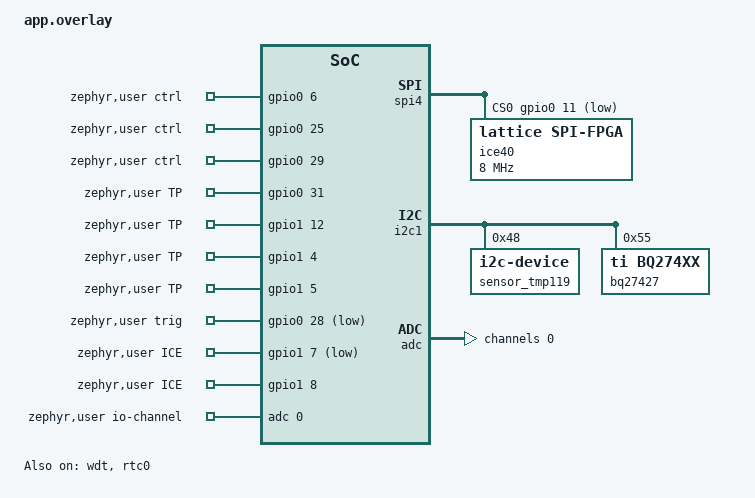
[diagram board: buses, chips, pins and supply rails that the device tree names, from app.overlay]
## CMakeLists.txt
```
#
# Copyright (c) 2018 Nordic Semiconductor
#
# SPDX-License-Identifier: LicenseRef-Nordic-5-Clause
#

cmake_minimum_required(VERSION 3.20.0)

find_package(Zephyr REQUIRED HINTS $ENV{ZEPHYR_BASE})
project(optimus_icu)

# 定义 common 目录
set(COMMON_DIR ${CMAKE_CURRENT_SOURCE_DIR}/../common)

# 定义 driver 目录
set(DRIVER_DIR ${CMAKE_CURRENT_SOURCE_DIR}/src/driver)

# 检查 common 目录是否存在
if(NOT EXISTS ${COMMON_DIR})
  message(FATAL_ERROR "The directory '${COMMON_DIR}' does not exist. Check your project structure.")
endif()
set(CMAKE_CXX_STANDARD 11) 
# 添加 main 应用程序源文件
target_sources(app PRIVATE
  src/main.c
  src/nx_crc.c
  src/dfu.c
  src/info.c
  src/sensor.c
  src/rtc.c
  src/events.c
  src/fuel_gauge_monitor.c
  src/thermal_monitor.c
  ${COMMON_DIR}/G3_ProtocolImplBLEPeripheral.c
  ${COMMON_DIR}/G3_ProtocolImplUart.c
  ${COMMON_DIR}/G3_Seq.c
  ${DRIVER_DIR}/bsp_gpio.c
  ${DRIVER_DIR}/bsp_ice40.c
  ${DRIVER_DIR}/bsp_gd25q32.c
  ${DRIVER_DIR}/bsp_tmp119.c
  ${DRIVER_DIR}/bq27427/bq274xx.c
)

# 递归包含 common 目录和子目录
function(get_all_subdirectories BASE_DIR OUT_VAR)
    file(GLOB_RECURSE SUB_DIRS LIST_DIRECTORIES true "${BASE_DIR}/*")
    set(FILTERED_DIRS "")
    foreach(SUB_DIR ${SUB_DIRS})
        if (IS_DIRECTORY ${SUB_DIR})
            list(APPEND FILTERED_DIRS ${SUB_DIR})
        endif()
    endforeach()
    set(${OUT_VAR} ${FILTERED_DIRS} PARENT_SCOPE)
endfunction()

# 获取 common 目录的所有子目录
get_all_subdirectories(${COMMON_DIR} COMMON_SUBDIRS)

# 添加到包含路径
zephyr_include_directories(${COMMON_DIR})
zephyr_include_directories(${COMMON_SUBDIRS})

# 条件添加 UART ASYNC API
target_sources_ifdef(CONFIG_BT_NUS_UART_ASYNC_ADAPTER app PRIVATE
  src/uart_async_adapter.c
)

# 添加库头文件
zephyr_library_include_directories(.)
```

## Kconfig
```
#
# Copyright (c) 2018 Nordic Semiconductor
#
# SPDX-License-Identifier: LicenseRef-Nordic-5-Clause
#

source "Kconfig.zephyr"

menu "Nordic UART BLE GATT service sample"

config BT_NUS_THREAD_STACK_SIZE
	int "Thread stack size"
	default 1024
	help
	  Stack size used in each of the two threads

config BT_NUS_UART_BUFFER_SIZE
	int "UART payload buffer element size"
	default 40
	help
	  Size of the payload buffer in each RX and TX FIFO element

config BT_NUS_SECURITY_ENABLED
	bool "Enable security"
	default y
	select BT_SMP
	help
	  "Enable BLE security for the UART service"

config BT_NUS_HOST_AUTH_ENABLED
	bool "Enable application layer authentication"
	default y
	help
	  "Enable BLE application authentication for the UART service"

config BT_NUS_FPGA_OTA_ENABLED
	bool "Enable FPGA upgrade function"
	default n
	help
	  "Enable FPGA upgrade for the UART service"

config BT_NUS_UART_RX_WAIT_TIME
	int "Timeout for UART RX complete event"
	default 50000
	help
	  Wait for RX complete event time in microseconds

config BT_NUS_UART_ASYNC_ADAPTER
	bool "Enable UART async adapter"
	select SERIAL_SUPPORT_ASYNC
	help
	  Enables asynchronous adapter for UART drives that supports only
	  IRQ interface.

config BT_NUS_IMP_MEA_MOCK_TEST
	bool "Enable MOCK Test of Impedance measure process"
	default n
	help
	  Enable Mock Test of Impedance measure process

config EVENT_WORKQUEUE_STACK_SIZE
	int "Event workqueue stack size"
	default 1024

config EVENT_STACK_WARNING_THRESHOLD
	int "Event workqueue stack threshold"
	default 512

config EVENT_WORKQUEUE_PRIORITY
	int "Event workqueue priority"
	default 7

config EVENT_WORKQUEUE_MONITOR
	bool "Enable event workqueue monitor"
	default n

config EVENT_MAX_LATENCY
	int "event max latency"
	default 100

endmenu
```

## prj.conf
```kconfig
#
# Copyright (c) 2018 Nordic Semiconductor
#
# SPDX-License-Identifier: LicenseRef-Nordic-5-Clause
#

# Enable the UART driver
CONFIG_UART_ASYNC_API=y
CONFIG_NRFX_UARTE0=y
CONFIG_SERIAL=y

CONFIG_GPIO=y

# Make sure printk is printing to the RTT console
CONFIG_CONSOLE=y
CONFIG_UART_CONSOLE=n
CONFIG_RTT_CONSOLE=y

CONFIG_EVENTS=y
CONFIG_RING_BUFFER=y
CONFIG_HEAP_MEM_POOL_SIZE=2048

CONFIG_BT=y
CONFIG_BT_PERIPHERAL=y
CONFIG_BT_DEVICE_NAME="Optimus"
CONFIG_BT_DEVICE_NAME_DYNAMIC=y
CONFIG_BT_DEVICE_NAME_MAX=16
CONFIG_BT_MAX_CONN=1
CONFIG_BT_MAX_PAIRED=1
CONFIG_BT_USER_PHY_UPDATE=y
CONFIG_BT_USER_DATA_LEN_UPDATE=y
CONFIG_BT_GAP_AUTO_UPDATE_CONN_PARAMS=n
CONFIG_BT_GATT_CLIENT=y
CONFIG_BT_BUF_ACL_RX_SIZE=251
CONFIG_BT_BUF_ACL_TX_SIZE=251
CONFIG_BT_L2CAP_TX_MTU=247
# CONFIG_BT_L2CAP_TX_BUF_COUNT=2
# CONFIG_BT_L2CAP_TX_FRAG_COUNT=0
# CONFIG_BT_BUF_ACL_TX_COUNT=1
# CONFIG_BT_CTLR_SDC_MAX_CONN_EVENT_LEN_DEFAULT=15000
# CONFIG_BT_LL_SOFTDEVICE=y
# CONFIG_BT_CTLR=y
# CONFIG_BT_CTLR_SDC_MAX_CONN_EVENT_LEN_DEFAULT_OVERRIDE=y
CONFIG_BT_RX_STACK_SIZE=4096

# Enable the NUS service
CONFIG_BT_NUS=y
CONFIG_BT_NUS_AUTHEN=n
# CONFIG_BT_ATT_LOG_LEVEL_DBG=y
# CONFIG_BT_GATT_LOG_LEVEL_DBG=y
CONFIG_BT_NUS_UART_BUFFER_SIZE=256
CONFIG_BT_NUS_SECURITY_ENABLED=n
CONFIG_BT_NUS_HOST_AUTH_ENABLED=n
CONFIG_BT_NUS_FPGA_OTA_ENABLED=y
# Security
# CONFIG_BT_SMP_SC_ONLY=y
# CONFIG_BT_MAX_PAIRED=5
# CONFIG_BT_KEYS_OVERWRITE_OLDEST=y
# Debug
CONFIG_BT_NUS_IMP_MEA_MOCK_TEST=n
CONFIG_THREAD_NAME=n

# Enable bonding
# CONFIG_BT_SETTINGS=y
CONFIG_FLASH=y
CONFIG_FLASH_PAGE_LAYOUT=y
CONFIG_FLASH_MAP=y
CONFIG_NVS=y
# CONFIG_SETTINGS=y
CONFIG_MPU_ALLOW_FLASH_WRITE=y


# This example requires more stack
CONFIG_MAIN_STACK_SIZE=8192
CONFIG_SYSTEM_WORKQUEUE_STACK_SIZE=2048

# Config logger
CONFIG_LOG=y
CONFIG_USE_SEGGER_RTT=y
CONFIG_LOG_BACKEND_RTT=y
CONFIG_LOG_BACKEND_UART=n
CONFIG_LOG_PRINTK=y
CONFIG_LOG_MODE_IMMEDIATE=y

CONFIG_ASSERT=y

CONFIG_I2C=y
CONFIG_BQ274XX=n
CONFIG_SPI=y
CONFIG_SPI_ASYNC=y
CONFIG_SENSOR=y
CONFIG_ADC=y
CONFIG_WATCHDOG=y
CONFIG_FPU=y

# Enable MCUBoot and FOTA
CONFIG_BOOTLOADER_MCUBOOT=y
CONFIG_NCS_SAMPLE_MCUMGR_BT_OTA_DFU=y

# Enable updates for the network core
CONFIG_NRF53_UPGRADE_NETWORK_CORE=y
CONFIG_UPDATEABLE_IMAGE_NUMBER=2
CONFIG_ADD_MCUBOOT_MEDIATE_SIM_FLASH_DTS=y

# Set Clock
CONFIG_SOC_HFXO_CAP_INTERNAL=y
CONFIG_SOC_HFXO_CAP_INT_VALUE_X2=20
CONFIG_SOC_SERIES_NRF53X=y
CONFIG_CLOCK_CONTROL_NRF_K32SRC_XTAL=y
CONFIG_CLOCK_CONTROL_NRF_K32SRC_50PPM=y
CONFIG_CLOCK_CONTROL_NRF_K32SRC_RC=n
CONFIG_CLOCK_CONTROL=y
CONFIG_CLOCK_CONTROL_NRF=y
# RTC
CONFIG_COUNTER=y
# CONFIG_RTC=y
# CONFIG_RTC_ALARM=y
# CONFIG_RTC_UPDATE=y
# CONFIG_RTC_CALIBRATION=y

# proprietary work queue
CONFIG_EVENT_WORKQUEUE_STACK_SIZE=1024
CONFIG_EVENT_STACK_WARNING_THRESHOLD=512
CONFIG_EVENT_WORKQUEUE_PRIORITY=8
CONFIG_EVENT_WORKQUEUE_MONITOR=n
CONFIG_EVENT_MAX_LATENCY=200

# zbus config
CONFIG_ZBUS=y
CONFIG_ZBUS_CHANNEL_NAME=y
CONFIG_ZBUS_OBSERVER_NAME=y
CONFIG_ZBUS_RUNTIME_OBSERVERS=y
```

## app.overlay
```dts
/*
 * Copyright (c) 2022 Nordic Semiconductor ASA
 *
 * SPDX-License-Identifier: LicenseRef-Nordic-5-Clause
 */

/ {
	chosen {
		nordic,nus-uart = &uart0;
		/delete-property/ zephyr,ieee802154;
	};

	zephyr,user {
		ctrl-gpios = <&gpio0 6 GPIO_ACTIVE_HIGH>,
					 <&gpio0 25 GPIO_ACTIVE_HIGH>,
					 <&gpio0 29 0>;
		TP-gpios = <&gpio0 31 0>, <&gpio1 12 0>, <&gpio1 4 0>, <&gpio1 5 0>;
		io-channels = <&adc 0>;
		trig-gpios = <&gpio0 28 GPIO_ACTIVE_LOW>;
		ICE-gpios = <&gpio1 7 GPIO_ACTIVE_LOW>, <&gpio1 8 0>;
	};

	aliases {
		/delete-property/ sw0;
		/delete-property/ sw1;
		/delete-property/ sw2;
		/delete-property/ sw3;
		/delete-property/ mcuboot-button0;
		/delete-property/ spi-flash0;
		/delete-property/ pwm-led0;
		/delete-property/ led0;
		/delete-property/ led1;
		/delete-property/ led2;
		/delete-property/ led3;
		/delete-property/ bootloader-led0;
		/delete-property/ mcuboot-led0;
	};
};

/delete-node/ &arduino_adc;
/delete-node/ &arduino_header;
/delete-node/ &{/buttons/};
/delete-node/ &{/leds/};
/delete-node/ &qspi;
/delete-node/ &{/pwmleds/};
/delete-node/ &pwm0;
/delete-node/ &{/nrf-gpio-forwarder/uart/};
/delete-node/ &gpio_fwd;

&uart0_default {
	group1 {
		psels = <NRF_PSEL(UART_TX, 1, 1)>;
	};

	group2 {
		psels = <NRF_PSEL(UART_RX, 1, 0)>;
	};
};

&uart0_sleep {
	group1 {
		psels = <NRF_PSEL(UART_TX, 1, 1)>, <NRF_PSEL(UART_RX, 1, 0)>;
	};
};

&spi4 {
	compatible = "nordic,nrf-spim";
	status = "okay";
	pinctrl-0 = <&spi4_default>;
	pinctrl-1 = <&spi4_sleep>;
	pinctrl-names = "default", "sleep";
	cs-gpios = <&gpio0 11 GPIO_ACTIVE_LOW>;
	ice40: fpga@0 {
		compatible ="lattice,spi-fpga";
		reg = <0x0>;
		spi-max-frequency = <DT_FREQ_M(8)>;
	};
};
&spi4_default {
	group1 {
		psels = <NRF_PSEL(SPIM_SCK, 0, 8)>,
				<NRF_PSEL(SPIM_MISO, 0, 10)>,
				<NRF_PSEL(SPIM_MOSI, 0, 9)>;
	};
};

&spi4_sleep {
	group1 {
		psels = <NRF_PSEL(SPIM_SCK, 0, 8)>,
				<NRF_PSEL(SPIM_MISO, 0, 10)>,
				<NRF_PSEL(SPIM_MOSI, 0, 9)>;
	};
};

&i2c1 {
	// clock-frequency = <I2C_BITRATE_FAST>;

	sensor_tmp119: tmp119@48 {
		compatible = "i2c-device";
		reg = <0x48>;
	};

	bq27427@55 {
		compatible = "ti,bq274xx";
		reg = <0x55>;
		design-voltage = <4200>;
		design-capacity = <250>;
		taper-current = <25>;
		terminate-voltage = <3200>;
		chemistry-id = <0x1202>;
	};
};

&adc {
	#address-cells = <1>;
	#size-cells = <0>;

	channel@0 {
		reg = <0>;
		zephyr,gain = "ADC_GAIN_1_6";
		zephyr,reference = "ADC_REF_INTERNAL";
		zephyr,acquisition-time = <0>;
		zephyr,resolution = <12>;
		zephyr,input-positive = <NRF_SAADC_AIN0>;
	};
};

&wdt {
	status = "okay";
};
&rtc0 {
	status = "okay";
	clock-frequency = <32768>;
	prescaler = <1>;
};
```

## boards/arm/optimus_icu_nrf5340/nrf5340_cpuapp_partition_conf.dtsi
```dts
/*
 * Copyright (c) 2019-2020 Nordic Semiconductor ASA
 *
 * SPDX-License-Identifier: Apache-2.0
 */

/*
 * Default Flash planning for optimus_icu_nrf5340 CPUAPP (Application MCU).
 *
 * Zephyr build for nRF5340 with ARM TrustZone-M support,
 * implies building Secure and Non-Secure Zephyr images.
 *
 * Secure image will be placed, by default, in flash0
 * (or in slot0, if MCUboot is present).
 * Secure image will use sram0 for system memory.
 *
 * Non-Secure image will be placed in slot0_ns, and use
 * sram0_ns for system memory.
 *
 * Note that the Secure image only requires knowledge of
 * the beginning of the Non-Secure image (not its size).
 */

&slot0_partition {
	reg = <0x00010000 0x40000>;
};

&slot0_ns_partition {
	reg = <0x00050000 0x30000>;
};

&slot1_partition {
	reg = <0x00080000 0x40000>;
};

&slot1_ns_partition {
	reg = <0x000c0000 0x30000>;
};

/* Default SRAM planning when building for nRF5340 with
 * ARM TrustZone-M support
 * - Lowest 256 kB SRAM allocated to Secure image (sram0_s)
 * - Middle 192 kB allocated to Non-Secure image (sram0_ns)
 * - Upper 64 kB SRAM allocated as Shared memory (sram0_shared)
 *   (see nrf5340_shared_sram_planning_conf.dtsi)
 */
&sram0_image {
	reg = <0x20000000 DT_SIZE_K(448)>;
};

&sram0_s {
	reg = <0x20000000 0x40000>;
};

&sram0_ns {
	reg = <0x20040000 0x30000>;
};

/* Include shared RAM configuration file */
#include "nrf5340_shared_sram_planning_conf.dtsi"
```

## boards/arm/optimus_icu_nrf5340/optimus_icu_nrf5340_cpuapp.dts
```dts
/*
 * Copyright (c) 2020 Nordic Semiconductor ASA
 *
 * SPDX-License-Identifier: Apache-2.0
 */

/dts-v1/;
#include <nordic/nrf5340_cpuapp_qkaa.dtsi>
#include "nrf5340_cpuapp_common.dtsi"

/ {
	model = "NeuroXess Optimus ICU NRF5340 Application";
	compatible = "neuroxess,optimus-icu-nrf5340-cpuapp";

	chosen {
		zephyr,sram = &sram0_image;
		zephyr,flash = &flash0;
		zephyr,code-partition = &slot0_partition;
		zephyr,sram-secure-partition = &sram0_s;
		zephyr,sram-non-secure-partition = &sram0_ns;
	};
};
```

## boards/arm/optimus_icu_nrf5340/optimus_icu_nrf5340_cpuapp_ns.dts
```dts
/*
 * Copyright (c) 2020 Nordic Semiconductor ASA
 *
 * SPDX-License-Identifier: Apache-2.0
 */

/dts-v1/;
#include <nordic/nrf5340_cpuappns_qkaa.dtsi>
#include "nrf5340_cpuapp_common.dtsi"

/ {
	model = "NeuroXess Optimus ICU NRF5340 Application";
	compatible = "neuroxess,optimus-icu-nrf5340-cpuapp";

	chosen {
		zephyr,sram = &sram0_ns;
		zephyr,flash = &flash0;
		zephyr,code-partition = &slot0_ns_partition;
	};
};
```

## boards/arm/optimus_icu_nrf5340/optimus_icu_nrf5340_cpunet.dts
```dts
/*
 * Copyright (c) 2020 Nordic Semiconductor ASA
 *
 * SPDX-License-Identifier: Apache-2.0
 */

/dts-v1/;
#include <nordic/nrf5340_cpunet_qkaa.dtsi>
#include "optimus_icu_nrf5340_cpunet-pinctrl.dtsi"
#include <zephyr/dt-bindings/input/input-event-codes.h>

/ {
	model = "NeuroXess Optimus ICU NRF5340 Network";
	compatible = "neuroxess,optimus-icu-nrf5340-cpunet";

	chosen {
		zephyr,console = &uart0;
		zephyr,shell-uart = &uart0;
		zephyr,uart-mcumgr = &uart0;
		zephyr,bt-mon-uart = &uart0;
		zephyr,bt-c2h-uart = &uart0;
		zephyr,bt-hci-ipc = &ipc0;
		nordic,802154-spinel-ipc = &ipc0;
		zephyr,sram = &sram1;
		zephyr,flash = &flash1;
		zephyr,code-partition = &slot0_partition;
		zephyr,ieee802154 = &ieee802154;
	};

	leds {
		compatible = "gpio-leds";
		led0: led_0 {
			gpios = <&gpio0 28 GPIO_ACTIVE_LOW>;
			label = "Green LED 0";
		};
		led1: led_1 {
			gpios = <&gpio0 29 GPIO_ACTIVE_LOW>;
			label = "Green LED 1";
		};
		led2: led_2 {
			gpios = <&gpio0 30 GPIO_ACTIVE_LOW>;
			label = "Green LED 2";
		};
		led3: led_3 {
			gpios = <&gpio0 31 GPIO_ACTIVE_LOW>;
			label = "Green LED 3";
		};
	};

	buttons {
		compatible = "gpio-keys";
		button0: button_0 {
			gpios = <&gpio0 23 (GPIO_PULL_UP | GPIO_ACTIVE_LOW)>;
			label = "Push button 1";
			zephyr,code = <INPUT_KEY_0>;
		};
		button1: button_1 {
			gpios = <&gpio0 24 (GPIO_PULL_UP | GPIO_ACTIVE_LOW)>;
			label = "Push button 2";
			zephyr,code = <INPUT_KEY_1>;
		};
		button2: button_2 {
			gpios = <&gpio0 8 (GPIO_PULL_UP | GPIO_ACTIVE_LOW)>;
			label = "Push button 3";
			zephyr,code = <INPUT_KEY_2>;
		};
		button3: button_3 {
			gpios = <&gpio0 9 (GPIO_PULL_UP | GPIO_ACTIVE_LOW)>;
			label = "Push button 4";
			zephyr,code = <INPUT_KEY_3>;
		};
	};

	arduino_header: connector {
		compatible = "arduino-header-r3";
		#gpio-cells = <2>;
		gpio-map-mask = <0xffffffff 0xffffffc0>;
		gpio-map-pass-thru = <0 0x3f>;
		gpio-map = <0 0 &gpio0 4 0>,	/* A0 */
			   <1 0 &gpio0 5 0>,	/* A1 */
			   <2 0 &gpio0 6 0>,	/* A2 */
			   <3 0 &gpio0 7 0>,	/* A3 */
			   <4 0 &gpio0 25 0>,	/* A4 */
			   <5 0 &gpio0 26 0>,	/* A5 */
			   <6 0 &gpio1 0 0>,	/* D0 */
			   <7 0 &gpio1 1 0>,	/* D1 */
			   <8 0 &gpio1 4 0>,	/* D2 */
			   <9 0 &gpio1 5 0>,	/* D3 */
			   <10 0 &gpio1 6 0>,	/* D4 */
			   <11 0 &gpio1 7 0>,	/* D5 */
			   <12 0 &gpio1 8 0>,	/* D6 */
			   <13 0 &gpio1 9 0>,	/* D7 */
			   <14 0 &gpio1 10 0>,	/* D8 */
			   <15 0 &gpio1 11 0>,	/* D9 */
			   <16 0 &gpio1 12 0>,	/* D10 */
			   <17 0 &gpio1 13 0>,	/* D11 */
			   <18 0 &gpio1 14 0>,	/* D12 */
			   <19 0 &gpio1 15 0>,	/* D13 */
			   <20 0 &gpio1 2 0>,	/* D14 */
			   <21 0 &gpio1 3 0>;	/* D15 */
	};

	/* These aliases are provided for compatibility with samples */
	aliases {
		led0 = &led0;
		led1 = &led1;
		led2 = &led2;
		led3 = &led3;
		sw0 = &button0;
		sw1 = &button1;
		sw2 = &button2;
		sw3 = &button3;
		bootloader-led0 = &led0;
		mcuboot-button0 = &button0;
		mcuboot-led0 = &led0;
		watchdog0 = &wdt0;
	};
};

&gpiote {
	status = "okay";
};

&gpio0 {
	status = "okay";
};

&gpio1 {
	status = "okay";
};

&uart0 {
	status = "okay";
	current-speed = <115200>;
	pinctrl-0 = <&uart0_default>;
	pinctrl-1 = <&uart0_sleep>;
	pinctrl-names = "default", "sleep";
};

arduino_serial: &uart0{};

arduino_i2c: &i2c0 {
	compatible = "nordic,nrf-twim";
	/* Cannot be used together with uart0. */
	/* status = "okay"; */
	pinctrl-0 = <&i2c0_default>;
	pinctrl-1 = <&i2c0_sleep>;
	pinctrl-names = "default", "sleep";
};

arduino_spi: &spi0 {
	compatible = "nordic,nrf-spim";
	/* Cannot be used together with uart0. */
	/* status = "okay"; */
	cs-gpios = <&arduino_header 16 GPIO_ACTIVE_LOW>; /* D10 */
	pinctrl-0 = <&spi0_default>;
	pinctrl-1 = <&spi0_sleep>;
	pinctrl-names = "default", "sleep";
};

&flash1 {

	partitions {
		compatible = "fixed-partitions";
		#address-cells = <1>;
		#size-cells = <1>;

		boot_partition: partition@0 {
			label = "mcuboot";
			reg = <0x00000000 0xc000>;
		};
		slot0_partition: partition@c000 {
			label = "image-0";
			reg = <0x0000C000 0x17000>;
		};
		slot1_partition: partition@23000 {
			label = "image-1";
			reg = <0x00023000 0x17000>;
		};
		storage_partition: partition@3a000 {
			label = "storage";
			reg = <0x0003a000 0x6000>;
		};
	};
};

&ieee802154 {
	status = "okay";
};

/* Include shared RAM configuration file */
#include "nrf5340_shared_sram_planning_conf.dtsi"
```

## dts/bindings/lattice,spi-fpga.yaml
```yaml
description: Optimus SPI node
 
compatible: "lattice,spi-fpga"

include: [spi-device.yaml]
```

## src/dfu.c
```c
/*******************************************************************************
 * @file  dfu.c
 * @brief DFU
 * @copyright
 *        Copyright(C) 2025 NeuroXess, All rights reserved.
 * @par Changelog
 ******************************************************************************/

#include "dfu.h"
#include "public_api.h"
#include "nx_crc.h"
#include "G3_Protocol.h"
#include "G3_ProtocolImplUart.h"

#define LOG_MODULE_NAME OPT_DFU
LOG_MODULE_REGISTER(LOG_MODULE_NAME, LOG_LEVEL_INF);

K_SEM_DEFINE(sem_stm32_dfu, 0, 1);
volatile bool g_stm32_dfu_enter = false;
volatile bool g_stm32_talk = false;
volatile dfu_type_t g_dfu_type = DFU_NONE;
volatile uint8_t dfu_data[STM32_FW_MAX_SIZE] = {0};

K_MSGQ_DEFINE(msgq_dfu_uart_rx, sizeof(struct msgq_uart_ack_t), 1, 4);
K_MSGQ_DEFINE(msgq_uart_rx, sizeof(struct msgq_uart_ack_t), 1, 4);
K_MSGQ_DEFINE(msgq_sync_uart_rx, sizeof(struct msgq_uart_ack_t), 1, 4);

void stm32_dfu_thread(void)
{
    uint16_t send_len = 0;
    uint8_t send_err = 0;

#if defined(CONFIG_THREAD_NAME)
    k_tid_t current_thread = k_current_get();
    printk("Thread ID: %p, Name: %s (prio: %d)\n", current_thread, current_thread->name, k_thread_priority_get(current_thread));
#endif

    for (;;)
    {
        k_sem_take(&sem_stm32_dfu, K_FOREVER);
        g_stm32_dfu_enter = true;
        dfu_internal_state_t st = DFU_BTR_ENTER;
        send_len = 0;
        send_err = 0;
        struct msgq_uart_ack_t ele;

        uint16_t dfu_crc = nx_crc16(dfu_data, sizeof(dfu_data));
        LOG_INF("DFU CRC = 0x%04x", dfu_crc);

        while (st != DFU_FINISH)
        {
            switch (st) {
            case DFU_BTR_ENTER:
            {
                LOG_INF("Step 1: Change to BTR");
                //!< Step 1: Notify STM32 to enter BTR mode and confirm

                uint8_t data[MAX_BLE_FRAME_SIZE] = {0};
                Frame *frmAck = (Frame *)data;
                frmAck->header = HEADER;
                frmAck->seq = getBleSendSeq();
                frmAck->type = FRAME_UPLOAD_COMMAND;
                frmAck->dataLen = 1;
                frmAck->data[0] = UPGRADE_STARTED;
                ProtocolErrorCode ret = sendFrame(frmAck);

                do {
                    uint8_t data[MAX_UART_FRAME_SIZE] = {0};
                    Frame *p_uartframe = (Frame *)data;
                    p_uartframe->header = HEADER;
                    p_uartframe->type = FRAME_MODE_CHANGE;
                    p_uartframe->dataLen = 1;
                    p_uartframe->data[0] = 0x00;
                    sendUartFrame(p_uartframe);
                    if (k_msgq_get(&msgq_dfu_uart_rx, &ele, K_MSEC(1000)) == 0) {}

                    p_uartframe->type = FRAME_MODE_GET;
                    p_uartframe->dataLen = 0;
                    sendUartFrame(p_uartframe);
                    if (k_msgq_get(&msgq_dfu_uart_rx, &ele, K_MSEC(1000)) == 0) {
                        LOG_HEXDUMP_DBG(ele.data, ele.len, "DFU");
                        uint16_t ack_head = ele.data[0] | (ele.data[1] << 8);
                        uint8_t type = ele.data[4];
                        uint16_t mode = ele.data[9];
                        if ((ack_head == HEADER) && (type == FRAME_MODE_GET) && (mode == 0)) {
                            send_err = 0;
                            st = DFU_METAINFO_SEND;
                        }
                        else
                        {
                            LOG_INF("FRAME_MODE_GET: %d", mode);
                            if (++send_err >= 5)
                            {
                                LOG_INF("Change to BTR mode err");
                                st = DFU_FAIL;
                                break;
                            }
                        }
                    }
                    else
                    {
                        if (++send_err >= 5)
                        {
                            LOG_INF("Change to BTR mode err");
                            st = DFU_FAIL;
                            break;
                        }
                    }
                } while (st == DFU_BTR_ENTER);
            }
                break;
            case DFU_METAINFO_SEND:
            {
                LOG_INF("Step 2: Write Metainfo");
                //!< Step 2: Send meta info of firmware
                do {
                    uint8_t data[MAX_UART_FRAME_SIZE] = {0};
                    Frame *p_uartframe = (Frame *)data;
                    p_uartframe->header = HEADER;
                    p_uartframe->type = FRAME_WRITE;
                    p_uartframe->dataLen = 8;
                    p_uartframe->data[0] = 0xe0;
                    p_uartframe->data[1] = 0x1f;
                    p_uartframe->data[2] = 0x04;
                    p_uartframe->data[3] = 0x00;
                    p_uartframe->data[4] = (uint8_t)(dfu_crc);
                    p_uartframe->data[5] = (uint8_t)(dfu_crc >> 8);
                    sendUartFrame(p_uartframe);
                    if (k_msgq_get(&msgq_dfu_uart_rx, &ele, K_MSEC(1000)) == 0) {
                        LOG_HEXDUMP_DBG(ele.data, ele.len, "DFU");
                        uint16_t ack_head = ele.data[0] | (ele.data[1] << 8);
                        uint8_t type = ele.data[4];
                        uint16_t len = ele.data[6] | (ele.data[7] << 8);
                        if ((ack_head == HEADER) && (type == FRAME_WRITE) && (len == 0)) {
                            send_err = 0;
                            send_len = 0;
                            st = DFU_BODY_SEND;
                        }
                        else {
                            if (++send_err >= 5)
                            {
                                LOG_INF("Send Metainfo err");
                                st = DFU_FAIL;
                                break;
                            }
                        }
                    }
                    else
                    {
                        if (++send_err >= 5)
                        {
                            LOG_INF("Send Metainfo err");
                            st = DFU_FAIL;
                            break;
                        }
                    }
                } while(st == DFU_METAINFO_SEND);
            }
                break;
            case DFU_BODY_SEND:
            {
                //!< Step 3: send body of firmware file
                while (send_len < sizeof(dfu_data))
                {
                    uint8_t data[MAX_UART_FRAME_SIZE] = {0};
                    Frame *p_uartframe = (Frame *)data;
                    p_uartframe->header = HEADER;
                    p_uartframe->type = FRAME_WRITE;
                    p_uartframe->dataLen = 132;
                    p_uartframe->data[0] = (uint8_t)(0x2000 + send_len);
                    p_uartframe->data[1] = (uint8_t)((0x2000 + send_len) >> 8);
                    // data len
                    p_uartframe->data[2] = 0x80;
                    p_uartframe->data[3] = 0x00;
                    memcpy(p_uartframe->data + 4, dfu_data + send_len, 0x80);
                    sendUartFrame(p_uartframe);
                    // wait ack
                    if (k_msgq_get(&msgq_dfu_uart_rx, &ele, K_MSEC(1000)) == 0)
                    {
                        uint16_t ack_head = ele.data[0] | (ele.data[1] << 8);
                        uint8_t type = ele.data[4];
                        uint16_t len = ele.data[6] | (ele.data[7] << 8);
                        if ((ack_head == HEADER) && (type == FRAME_WRITE) && (len == 0))
                        {
                            send_len += 0x80;
                            LOG_INF("DFU process: %d/%d, %d%%", send_len, sizeof(dfu_data), send_len * 100 / sizeof(dfu_data));
                        }
                        else
                        {
                            LOG_INF("DFU ack fail, 0x%04x", send_len);
                            if (++send_err >= 5)
                            {
                                break;
                            }
                        }
                    }
                    else
                    {
                        LOG_INF("DFU ack timeout, 0x%04x, 0x%02x-0x%02x", send_len,  p_uartframe->data[0],  p_uartframe->data[1]);
                        if (++send_err >= 5)
                        {
                            break;
                        }
                    }
                }

                if (send_len >= sizeof(dfu_data))
                {
                    send_err = 0;
                    st = DFU_APP_ENTER;
                    LOG_INF("STM32 DFU finsih");
                }
                else
                {
                    send_err = 0;
                    st = DFU_FAIL;
                    LOG_INF("STM32 DFU fail");
                }
            }
                break;
            case DFU_APP_ENTER:
            {
                LOG_INF("Step 4: Change to APP");
                // uint8_t data[MAX_UART_FRAME_SIZE] = {0};
                // Frame *p_uartframe = (Frame *)data;
                // p_uartframe->header = HEADER;
                // p_uartframe->type = FRAME_MODE_CHANGE;
                // p_uartframe->dataLen = 1;
                // p_uartframe->data[0] = 0x01;
                // sendUartFrame(p_uartframe);
                // if (k_msgq_get(&msgq_dfu_uart_rx, &ele, K_MSEC(1000)) == 0) {
                // }
                st = DFU_SUCCESS;
            }
                break;
            case DFU_SUCCESS:
            {
                LOG_INF("STM32 DFU SUCCESS!");
                st = DFU_FINISH;

                uint8_t data[MAX_BLE_FRAME_SIZE] = {0};
                Frame *frmAck = (Frame *)data;
                frmAck->header = HEADER;
                frmAck->seq = getBleSendSeq();
                frmAck->type = FRAME_UPLOAD_COMMAND;
                frmAck->dataLen = 1;
                frmAck->data[0] = UPGRADE_SUCCESS;
                sendFrame(frmAck);
                k_sleep(K_MSEC(100));
                sendFrame(frmAck);
                k_sleep(K_MSEC(100));

                uint8_t uart_data[MAX_UART_FRAME_SIZE] = {0};
                Frame *p_uartframe = (Frame *)uart_data;
                p_uartframe->header = HEADER;
                p_uartframe->type = FRAME_MODE_CHANGE;
                p_uartframe->dataLen = 1;
                p_uartframe->data[0] = 0x01;
                sendUartFrame(p_uartframe);
                if (k_msgq_get(&msgq_dfu_uart_rx, &ele, K_MSEC(1000)) == 0) {
                }
            }
                break;
            case DFU_FAIL:
            {
                LOG_INF("STM32 DFU FAIL!");
                st = DFU_FINISH;

                uint8_t data[MAX_BLE_FRAME_SIZE] = {0};
                Frame *frmAck = (Frame *)data;
                frmAck->header = HEADER;
                frmAck->seq = getBleSendSeq();
                frmAck->type = FRAME_UPLOAD_COMMAND;
                frmAck->dataLen = 1;
                frmAck->data[0] = UPGRADE_FAILED;
                sendFrame(frmAck);
                k_sleep(K_MSEC(100));
                sendFrame(frmAck);
            }
                break;
            default:
                st = DFU_FINISH;
                break;
            }
        }

        g_stm32_dfu_enter = false;
        k_timer_start(&stm_heartbeat_timer, K_MSEC(STM_HB_TIMER_MS), K_MSEC(STM_HB_TIMER_MS));
    }
}

K_THREAD_DEFINE(stm32_dfu_thread_id, 2048, stm32_dfu_thread, NULL, NULL,
        NULL, STM32_DFU_PRIORITY, 0, 1000);
```

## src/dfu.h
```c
/*******************************************************************************
 * @file dfu.h
 * @brief DFU
 *
 * @copyright Copyright(C) 2025 NeuroXess, All rights reserved.
 ******************************************************************************/

#ifndef __DFU_H__
#define __DFU_H__

#include <stdint.h>
#include <zephyr/types.h>
#include <zephyr/kernel.h>
#include <zephyr/logging/log.h>

#define STM32_DFU_PRIORITY 6
#define STM32_FW_MAX_SIZE  (24 * 1024) // 24 KB

typedef enum {
    DFU_BTR_ENTER     = 0,
    DFU_METAINFO_SEND = 1,
    DFU_BODY_SEND     = 2,
    DFU_APP_ENTER     = 3,
    DFU_SUCCESS       = 4,
    DFU_FAIL          = 5,
    DFU_FINISH        = 6,
} dfu_internal_state_t;

typedef enum {
    DFU_NONE  = 0,
    DFU_STM32 = 1,
    DFU_FPGA  = 2,
    DFU_UNK   = 3,
} dfu_type_t;

typedef enum {
    TRANSFER_STARTED = 0,
    TRANSFER_SUCCESS = 1,
    TRANSFER_FAILED  = 2,
    UPGRADE_FAILED   = 3,
    UPGRADE_SUCCESS  = 4,
    UPGRADE_STARTED  = 5,
} dfu_host_state_t;

struct msgq_uart_ack_t
{
    uint16_t len;
    uint16_t seq;
    uint8_t  data[160];
};

extern struct k_sem sem_stm32_dfu;
extern volatile bool g_stm32_dfu_enter;
extern volatile bool g_stm32_talk;
extern struct k_msgq msgq_dfu_uart_rx;
extern struct k_msgq msgq_uart_rx;
extern struct k_msgq msgq_sync_uart_rx;
extern volatile uint8_t dfu_data[STM32_FW_MAX_SIZE];
extern volatile dfu_type_t g_dfu_type;

#endif /** __DFU_H__ */
```

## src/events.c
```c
/*******************************************************************************
 * @file  events.c
 * @brief System events process
 * @author chunxiao.dai@neuroxess.com
 *
 * @copyright
 *        Copyright(C) 2025 NeuroXess, All rights reserved.
 * @par Changelog
 ******************************************************************************/

#include "events.h"
#include "info.h"
#include "driver/bsp_gpio.h"
#include "public_api.h"
#include <ctype.h>
#include <zephyr/sys/timeutil.h>

#define LOG_MODULE_NAME OPT_EVTS
LOG_MODULE_REGISTER(LOG_MODULE_NAME, LOG_LEVEL_INF);

//!< Thread Config
#define CRITICAL_THREAD_PRIORITY    1
#define CRITICAL_THREAD_STACK_SIZE  2048

ZBUS_CHAN_DEFINE(
    critical_chan,
    struct event,
    NULL,
    NULL,
    ZBUS_OBSERVERS_EMPTY,
    ZBUS_MSG_INIT(0)
);

ZBUS_CHAN_DEFINE(
    normal_chan,
    struct event,
    NULL,
    NULL,
    ZBUS_OBSERVERS_EMPTY,
    ZBUS_MSG_INIT(0)
);

event_subsys_t event_subsys = {
    .evt_batt_undervoltage = {0},
    .evt_board_overtemp = {0},
    .evt_case_overtemp = {0},
    .evt_charge_overcurr = {0},
    .evt_discharge_overcurr = {0},
    .evt_probe_overcurr = {0},
};

//!< Proprietary work queue
K_THREAD_STACK_DEFINE(event_workq_stack, CONFIG_EVENT_WORKQUEUE_STACK_SIZE);
struct k_work_q event_workq;

//!< Work item pool
#define WORK_ITEM_POOL_SIZE 8
struct event_work_item work_items[WORK_ITEM_POOL_SIZE];
atomic_t work_item_idx = ATOMIC_INIT(0);

void event_ble_notify(const struct event *evt)
{
    if (atomic_load(&g_ble_connected))
    {
        uint8_t data[COMMON_FRAME_SIZE] = {0};
        Frame *frmAck = (Frame *)data;
        frmAck->header = HEADER;
        frmAck->seq = 0;
        frmAck->type = FRAME_EVENT;
        frmAck->dataLen = 0x08;
        frmAck->data[0] = (uint8_t)(evt->timestamp);
        frmAck->data[1] = (uint8_t)(evt->timestamp >> 8);
        frmAck->data[2] = (uint8_t)(evt->timestamp >> 16);
        frmAck->data[3] = (uint8_t)(evt->timestamp >> 24);
        frmAck->data[4] = evt->level;
        frmAck->data[5] = evt->type;
        frmAck->data[6] = (uint8_t)(evt->data);
        frmAck->data[7] = (uint8_t)(evt->data >> 8);
        sendFrame(frmAck);
    }
}

void event_work_handler(struct k_work *work)
{
#if defined(CONFIG_THREAD_NAME)
    k_tid_t current_thread = k_current_get();
    printk("Thread ID: %p, Name: %s (prio: %d)\n", current_thread, current_thread->name, k_thread_priority_get(current_thread));
#endif

    struct event_work_item *item = CONTAINER_OF(work, struct event_work_item, work);

    if (item->channel == NULL) {
        LOG_ERR("illegal zbus_channel pointer");
        return;
    }

    // alter
    const struct event *evt = zbus_chan_msg(item->channel);
    if (evt == NULL) {
        LOG_ERR("Failed to fetch channel message");
        return;
    }

    time_t time_seconds = evt->timestamp;
    struct tm current_tm;
    gmtime_r(&time_seconds, &current_tm);

    LOG_INF("#[%04d-%02d-%02d %02d:%02d:%02d] type = %d, value = 0x%0x",
                    current_tm.tm_year + 1900,
                    current_tm.tm_mon + 1,
                    current_tm.tm_mday,
                    current_tm.tm_hour,
                    current_tm.tm_min,
                    current_tm.tm_sec,
                    evt->type,
                    evt->data);

    nvs_event_save(evt);

#if CONFIG_EVENT_WORKQUEUE_MONITOR
    static uint32_t last_time;
    uint32_t now = k_cycle_get_32();
    uint32_t delta = k_cyc_to_us_near32(now - last_time);
    last_time = now;

    if (delta > CONFIG_EVENT_MAX_LATENCY) {
        LOG_WRN("Event process delay: %d us", delta);
    }
#endif
}

/**
 * @brief initialize event work queue
 * 
 * @return int 
 */
void event_workq_init(void)
{
    k_work_queue_start(
        &event_workq,
        event_workq_stack,
        K_THREAD_STACK_SIZEOF(event_workq_stack),
        CONFIG_EVENT_WORKQUEUE_PRIORITY,
        NULL
    );

    for (int i = 0; i < WORK_ITEM_POOL_SIZE; i++) {
        k_work_init(&work_items[i].work, event_work_handler);
    }

    LOG_INF("Event work queue started (prio: %d)", CONFIG_EVENT_WORKQUEUE_PRIORITY);
}

void on_normal_event(const struct zbus_channel *chan)
{
#if defined(CONFIG_THREAD_NAME)
    k_tid_t current_thread = k_current_get();
    printk("Thread ID: %p, Name: %s (prio: %d)\n", current_thread, current_thread->name, k_thread_priority_get(current_thread));
#endif

    uint8_t idx = atomic_inc(&work_item_idx) % WORK_ITEM_POOL_SIZE;
    struct event_work_item *item = &work_items[idx];

    item->channel = chan;

    int ret = k_work_submit_to_queue(&event_workq, &item->work);
    if (ret < 0) {
        LOG_WRN("event work submit fail (%d), try to process directly", ret);
        // const struct event *evt = zbus_chan_msg(chan);
        // normal_event_process(evt);
    }
}
ZBUS_LISTENER_DEFINE(normal_listener, on_normal_event);

ZBUS_SUBSCRIBER_DEFINE(critical_sub, 5);

/**
 * @brief Link zbus producers and observers
 * 
 * @return int 0 for success, error otherwise
 */
int zbus_link_init(void)
{
    int ret = 0;

    ret = zbus_chan_add_obs(&normal_chan, &normal_listener, K_MSEC(10));
    if (ret) {
        LOG_ERR("Failed to add normal event listener");
        return ret;
    }

    return ret;
}

void critical_handler_thread(void)
{
    // printk("Thread ID: %p, Name: %s\n", k_current_get(), k_current_get()->name);
    zbus_chan_add_obs(&critical_chan, &critical_sub, K_MSEC(10));

    for (;;)
    {
        const struct zbus_channel *chan;
        struct event *evt;

        int ret = zbus_sub_wait(&critical_sub, &chan, K_FOREVER);
        if (ret == 0) {
            // if (zbus_chan_read(chan, &evt, K_NO_WAIT) == 0) {
            //     LOG_INF("critical zbus_chan_read, type = %d", evt.type);
            // }
            zbus_chan_claim(chan, K_NO_WAIT);
            evt = zbus_chan_msg(chan);
            time_t time_seconds = evt->timestamp;
            struct tm current_tm;
            gmtime_r(&time_seconds, &current_tm);

            LOG_INF("*[%04d-%02d-%02d %02d:%02d:%02d] type = %d, value = 0x%0x",
                        current_tm.tm_year + 1900,
                        current_tm.tm_mon + 1,
                        current_tm.tm_mday,
                        current_tm.tm_hour,
                        current_tm.tm_min,
                        current_tm.tm_sec,
                        evt->type, evt->data);

            switch (evt->type) {
                case EVENT_CRIT_PROBE_OVERCURR:
                    intan_pwr_disable();
                    fpga_pwr_disable();
                    nvs_event_save(evt);
                    event_ble_notify(evt);
                    break;
                case EVENT_CRIT_BATTERY_UNDERVOLTAGE:
                    intan_pwr_disable();
                    fpga_pwr_disable();
                    nvs_event_save(evt);
                    // Tell STM32
                    event_ble_notify(evt);
                    break;
                case EVENT_CRIT_BATT_TEMP_OVERHEAT:
#if 0
                    intan_pwr_disable();
                    fpga_pwr_disable();
                    nvs_event_save(evt);
                    event_ble_notify(evt);
#endif
                    break;
                case EVENT_CRIT_CASE_TEMP_OVERHEAT:
                    intan_pwr_disable();
                    fpga_pwr_disable();
                    nvs_event_save(evt);
                    event_ble_notify(evt);
                    break;
                case EVENT_CRIT_DISCHARGE_OVERCURR:
                    break;
                default: break;
            }
            zbus_chan_finish(chan);
        }
    }
}

K_THREAD_DEFINE(critical_event_thread_id, CRITICAL_THREAD_STACK_SIZE, critical_handler_thread, NULL, NULL,
        NULL, CRITICAL_THREAD_PRIORITY, 0, 0);
```

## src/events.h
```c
/*******************************************************************************
 * @file events.h
 * @brief System events process
 * @author chunxiao.dai@neuroxess.com
 *
 * @copyright Copyright(C) 2025 NeuroXess, All rights reserved.
 ******************************************************************************/

#ifndef __EVENTS_H__
#define __EVENTS_H__

#include <stdint.h>
#include <zephyr/types.h>
#include <zephyr/kernel.h>
#include <zephyr/logging/log.h>
#include <zephyr/zbus/zbus.h>

typedef enum {
    EVENT_NORMAL,
    EVENT_CRITICAL,
} event_level;

/**
 * @brief critical event (high priority)
 */
enum critical_event_type {
    EVENT_CRIT_NONE,
    EVENT_CRIT_BATTERY_UNDERVOLTAGE,
    EVENT_CRIT_CASE_TEMP_OVERHEAT,
    EVENT_CRIT_BATT_TEMP_OVERHEAT,
    EVENT_CRIT_DISCHARGE_OVERCURR,
    EVENT_CRIT_PROBE_OVERCURR,
};

/**
 * @brief normal event (low priority)
 */
enum normal_event_type {
    EVENT_NORM_NONE,
    EVENT_NORM_BLE_CONNECTED,
    EVENT_NORM_BLE_DISCONNECTED,
    EVENT_NORM_BATTERY_LOW,
    EVENT_NORM_TEMP_WARNING,
    EVENT_NORM_SAMPLING_START,
    EVENT_NORM_SAMPLING_STOP,
    EVENT_NORM_CHANNELS_SET,
};

struct event {
    uint32_t timestamp;
    uint8_t level;
    uint8_t type;
    uint16_t data;
};

typedef struct {
    bool triggered;
    bool handled;
    uint32_t duration_s;
} event_status_t;

typedef struct {
    event_status_t evt_batt_undervoltage;
    event_status_t evt_discharge_overcurr;
    event_status_t evt_charge_overcurr;
    event_status_t evt_board_overtemp;
    event_status_t evt_case_overtemp;      //!< Titanium case overtemp
    event_status_t evt_probe_overcurr;     //!< Intan probe overcurrent
} event_subsys_t;

struct event_work_item {
    struct k_work work;
    const struct zbus_channel *channel;
};

ZBUS_CHAN_DECLARE(critical_chan);
ZBUS_CHAN_DECLARE(normal_chan);

extern struct event_work_item work_items[];
extern atomic_t work_item_idx;
extern event_subsys_t event_subsys;

extern int zbus_link_init(void);
extern void event_workq_init(void);
// extern void event_subsystem_init(void);

#endif /** __EVENTS_H__ */
```

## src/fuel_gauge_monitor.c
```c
/*******************************************************************************
 * @file  fuel_gauge_monitor.c
 * @brief fuel gauge
 * @author chunxiao.dai@neuroxess.com
 * @copyright
 *        Copyright(C) 2025 NeuroXess, All rights reserved.
 * @par Changelog
 ******************************************************************************/

#include <zephyr/kernel.h>
#include <zephyr/device.h>
#include <zephyr/sys/printk.h>
#include <zephyr/sys/ring_buffer.h>
#include "sensor.h"
#include "events.h"
#include "info.h"
#include "rtc.h"
#include "public_api.h"
#include "driver/bq27427/bq274xx.h"

#define LOG_MODULE_NAME fuel_gauge
LOG_MODULE_REGISTER(LOG_MODULE_NAME, LOG_LEVEL_INF);

#define FG_BUFFER_ITEMS 2
static uint8_t fuel_gauge_buffer[FUEL_GAUGE_ITEM_SIZE * FG_BUFFER_ITEMS];

//!< Thread Config
#define FUEL_GAUGE_PRIORITY    7
#define FULE_GAUGE_STACK_SIZE  1024

#define SAMPLING_TIMES_MS  (5000)

static void fgm_override_buffer_init(void)
{
    ring_buf_init(&fuel_gauge_ring_buf, sizeof(fuel_gauge_buffer), fuel_gauge_buffer);
    k_mutex_init(&fuel_gauge_mutex);
    k_event_init(&fuel_gauge_event);
}

/**
 * @brief override write function
 */
static void fgm_smart_buffer_write(const struct fuel_gauge_data *value)
{
    k_mutex_lock(&fuel_gauge_mutex, K_FOREVER);

    //!< Dynamic override
    while (ring_buf_space_get(&fuel_gauge_ring_buf) < FUEL_GAUGE_ITEM_SIZE) {
        uint8_t dummy[FUEL_GAUGE_ITEM_SIZE];
        ring_buf_get(&fuel_gauge_ring_buf, dummy, FUEL_GAUGE_ITEM_SIZE);
    }

    ring_buf_put(&fuel_gauge_ring_buf, (uint8_t *)value, FUEL_GAUGE_ITEM_SIZE);

    //!< Notify data ready
    k_event_set(&fuel_gauge_event, FUEL_GAUGE_UPDATE_EVENT);

    k_mutex_unlock(&fuel_gauge_mutex);
}

static void bq274xx_show_values(const char *type, struct sensor_value value)
{
    if ((value.val2 < 0) && (value.val1 >= 0)) {
        value.val2 = -(value.val2);
        LOG_DBG("%s: -%d.%06d", type, value.val1, value.val2);
    } else if ((value.val2 > 0) && (value.val1 < 0)) {
        LOG_DBG("%s: %d.%06d", type, value.val1, value.val2);
    } else if ((value.val2 < 0) && (value.val1 < 0)) {
        value.val2 = -(value.val2);
        LOG_DBG("%s: %d.%06d", type, value.val1, value.val2);
    } else {
        LOG_DBG("%s: %d.%06d", type, value.val1, value.val2);
    }
}

static void do_main(const struct device *dev)
{
    int err = 0;
    struct fuel_gauge_data rb_data;

    while (1) {
        err = k_mutex_lock(&i2c1_bus_lock, K_NO_WAIT);
        if (err < 0) {
            LOG_DBG("I2C bus lock failed (%d)", err);
            k_sleep(K_MSEC(2));
            continue;
        }
        //!< The actual measurement shows that the collection process requires approximately 4.8 ms
        err = sensor_sample_fetch_chan(dev, SENSOR_CHAN_GAUGE_VOLTAGE);
        if (err < 0) {
            LOG_ERR("Unable to fetch the voltage (%d)", err);
            k_sleep(K_MSEC(SAMPLING_TIMES_MS));
            continue;
        }

        err = sensor_channel_get(dev, SENSOR_CHAN_GAUGE_VOLTAGE, &rb_data.voltage);
        if (err < 0) {
            LOG_ERR("Unable to get the voltage value (%d)", err);
            k_sleep(K_MSEC(SAMPLING_TIMES_MS));
            continue;
        }

        LOG_DBG("Voltage: %d.%06dV", rb_data.voltage.val1, rb_data.voltage.val2);

        err = sensor_sample_fetch_chan(dev, SENSOR_CHAN_GAUGE_AVG_CURRENT);
        if (err < 0) {
            LOG_ERR("Unable to fetch the Average current (%d)", err);
            k_sleep(K_MSEC(SAMPLING_TIMES_MS));
            continue;
        }

        err = sensor_channel_get(dev, SENSOR_CHAN_GAUGE_AVG_CURRENT, &rb_data.current);
        if (err < 0) {
            LOG_ERR("Unable to get the current value (%d)", err);
            k_sleep(K_MSEC(SAMPLING_TIMES_MS));
            continue;
        }

        bq274xx_show_values("Avg Current in Amps", rb_data.current);

        err = sensor_sample_fetch_chan(dev, SENSOR_CHAN_GAUGE_STATE_OF_CHARGE);
        if (err < 0) {
            LOG_ERR("Unable to fetch State of Charge (%d)", err);
            k_sleep(K_MSEC(SAMPLING_TIMES_MS));
            continue;
        }

        err = sensor_channel_get(dev, SENSOR_CHAN_GAUGE_STATE_OF_CHARGE, &rb_data.state_of_charge);
        if (err < 0) {
            LOG_ERR("Unable to get state of charge (%d)", err);
            k_sleep(K_MSEC(SAMPLING_TIMES_MS));
            continue;
        }

        LOG_DBG("State of charge: %d%%", rb_data.state_of_charge.val1);

        err = sensor_sample_fetch_chan(dev, SENSOR_CHAN_GAUGE_STATE_OF_HEALTH);
        if (err < 0) {
            LOG_ERR("Failed to fetch State of Health (%d)", err);
            k_sleep(K_MSEC(SAMPLING_TIMES_MS));
            continue;
        }

        err = sensor_channel_get(dev, SENSOR_CHAN_GAUGE_STATE_OF_HEALTH, &rb_data.state_of_health);
        if (err < 0) {
            LOG_ERR("Unable to get state of health (%d)", err);
            k_sleep(K_MSEC(SAMPLING_TIMES_MS));
            continue;
        }

        LOG_DBG("State of health: %d%%", rb_data.state_of_health.val1);
        k_mutex_unlock(&i2c1_bus_lock);

        fgm_smart_buffer_write(&rb_data);

        //!< Under-voltage monitoring
        uint16_t value = rb_data.voltage.val1 * 1000 + rb_data.voltage.val2 / 1000;
        if (value <= system_limits.undervoltage_limit)
        // if (value <= 5100)
        {
            LOG_DBG("voltage: %d", rb_data.voltage.val1 * 1000 + rb_data.voltage.val2 / 1000);

            if (event_subsys.evt_batt_undervoltage.triggered)
            {
                if (event_subsys.evt_batt_undervoltage.duration_s >= 30)
                {
                    if (!event_subsys.evt_batt_undervoltage.handled) {
                        event_subsys.evt_batt_undervoltage.handled = true;
                        struct event evt = {
                            .level = EVENT_CRITICAL,
                            .type = EVENT_CRIT_BATTERY_UNDERVOLTAGE,
                            .timestamp = rtc_calibrated_time_get(rtc_dev),
                            .data = value,
                        };
                        zbus_chan_pub(&critical_chan, &evt, K_MSEC(10));
                    }
                }
            }
            else
            {
                event_subsys.evt_batt_undervoltage.triggered = true;
            }

            event_subsys.evt_batt_undervoltage.duration_s += 5;
        }
        else
        {
            event_subsys.evt_batt_undervoltage.triggered = false;
            event_subsys.evt_batt_undervoltage.handled = false;
            event_subsys.evt_batt_undervoltage.duration_s = 0;
        }

        if (atomic_load(&g_chrg_triggered)) {
            k_sleep(K_MSEC(1000));
        } else {
            k_sleep(K_MSEC(SAMPLING_TIMES_MS));
        }
    }
}

void fuel_gauge_thread(void)
{
    const struct device *const dev = DEVICE_DT_GET_ONE(ti_bq274xx);

    fgm_override_buffer_init();

    if (!device_is_ready(dev)) {
        LOG_ERR("Device %s is not ready\n", dev->name);
        return ;
    }

    LOG_INF("Device is %p, name is %s\n", dev, dev->name);

    bq27427_init_complete(dev);
    do_main(dev);
}

K_THREAD_DEFINE(fuel_gauge_thread_id, FULE_GAUGE_STACK_SIZE, fuel_gauge_thread, NULL, NULL,
    NULL, FUEL_GAUGE_PRIORITY, 0, 0);
```

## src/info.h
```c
/*******************************************************************************
 * @file info.h
 * @brief Device info
 *
 * @copyright Copyright(C) 2025 NeuroXess, All rights reserved.
 ******************************************************************************/

#ifndef __INFO_H__
#define __INFO_H__

#include <stdint.h>
#include <zephyr/types.h>
#include <zephyr/kernel.h>
#include <zephyr/logging/log.h>
#include "events.h"

//*< firmware version
typedef struct {
    uint8_t x;  //!< major
    uint8_t y;  //!< minor
    uint8_t z;  //!< patch
    uint8_t b;  //!< build
} fw_ver_t;

typedef struct {
    int16_t bat_discharging_curr_limit;
    int16_t bat_charging_curr_limit;
    int16_t titianum_case_temp_soft_limit;
    int16_t titianum_case_temp_hard_limit;
    int16_t board_temp_limit;
    int16_t probe_current_limit;
    int16_t undervoltage_limit;
    int16_t overtemp_lazy_time_limit;
} system_limit_t;

typedef enum {
    LIMIT_BAT_DISCAHRGE_CURR = 0,
    LIMIT_BAT_CHARGE_CURR    = 1,
    LIMIT_CASE_TEMP_SOFT     = 2,
    LIMIT_CASE_TEMP_HARD     = 3,
    LIMIT_BOARD_TEMP         = 4,
    LIMIT_PROBE_CURR         = 5,
    LIMIT_UNDERVOLATGE       = 6,
    LIMIT_OVERTEMP_LAZY_TIME = 7,
} limit_type_t;

struct event_meta {
    uint16_t index;
    uint16_t size;
};

#define DEV_SN_LEN 9
#define DEVICE_NAME CONFIG_BT_DEVICE_NAME
#define DEVICE_NAME_LEN (sizeof(DEVICE_NAME) - 1)

#define CRITICAL_EVENT_MAX_NUM (50)
#define NORMAL_EVENT_MAX_NUM (200)

extern const fw_ver_t g_appcore_version;
extern const fw_ver_t g_netcore_version;
extern char device_name[CONFIG_BT_DEVICE_NAME_MAX];
extern int32_t current_sleep_time;
extern int32_t current_sync_time;
extern system_limit_t system_limits;

extern void get_device_id(uint8_t *mac);
extern void print_bt_address(void);
extern void device_name_load(void);
extern int device_name_get(uint8_t *sn);
extern int device_name_set(const uint8_t *sn);
extern void sleep_time_get(void);
extern int sleep_time_set(int32_t new_time);
extern void sync_time_get(void);
extern int sync_time_set(int32_t new_time);
extern bool validate_icu_name(const char *serial);
extern ssize_t nvs_get_free_space(void);
extern int nvs_event_save(const struct event *evt);
extern int nvs_event_load(struct event *evt, uint16_t index);
extern int nvs_meta_load(event_level lvl, struct event_meta *meta);
extern int nvs_meta_clear(event_level lvl);
extern int16_t sensor_limit_get(limit_type_t type);
extern int sensor_limit_set(limit_type_t type, int16_t value);
extern void system_limits_init(void);
extern void info_init(void);
extern void info_clear(void);

#endif /** __INFO_H__ */
```

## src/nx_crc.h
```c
/*******************************************************************************
 * @file nx_crc.h
 * @brief calculate crc16/32 code function
 *
 * @copyright Copyright(C) 2025 NeuroXess, All rights reserved.
 ******************************************************************************/

#ifndef __NX_CRC_H__
#define __NX_CRC_H__

#include <stdint.h>
#include <string.h>

extern unsigned short nx_crc16 (void * crcSrc, unsigned int size);
extern uint32_t nx_crc32(volatile const uint8_t *data, size_t length);

#endif /** __NX_CRC_H__ */
```
